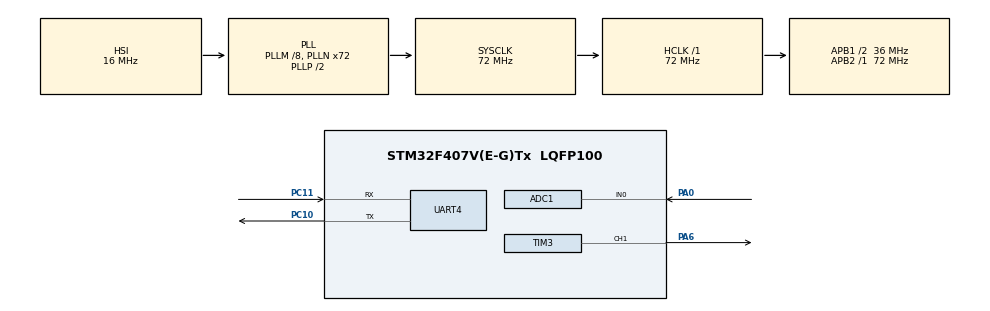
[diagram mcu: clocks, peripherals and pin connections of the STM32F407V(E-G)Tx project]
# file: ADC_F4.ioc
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ADC1.Channel-0\#ChannelRegularConversion=ADC_CHANNEL_0
ADC1.NbrOfConversionFlag=1
ADC1.Rank-0\#ChannelRegularConversion=1
ADC1.SamplingTime-0\#ChannelRegularConversion=ADC_SAMPLETIME_480CYCLES
ADC1.master=1
Mcu.Family=STM32F4
Mcu.Name=STM32F407V(E-G)Tx
Mcu.Package=LQFP100
NVIC.PriorityGroup=NVIC_PRIORITYGROUP_4
NVIC.UART4_IRQn=true\:0\:0\:false\:false\:true\:true\:true
PA0-WKUP.Signal=ADCx_IN0
PA6.Signal=S_TIM3_CH1
PC10.Mode=Asynchronous
PC10.Signal=UART4_TX
PC11.Mode=Asynchronous
PC11.Signal=UART4_RX
PH0-OSC_IN.Mode=HSE-External-Oscillator
PH0-OSC_IN.Signal=RCC_OSC_IN
PH1-OSC_OUT.Mode=HSE-External-Oscillator
PH1-OSC_OUT.Signal=RCC_OSC_OUT
ProjectManager.HeapSize=0x200
ProjectManager.StackSize=0x400
ProjectManager.TargetToolchain=STM32CubeIDE
RCC.48MHZClocksFreq_Value=36000000
RCC.AHBFreq_Value=72000000
RCC.APB1CLKDivider=RCC_HCLK_DIV2
RCC.APB1Freq_Value=36000000
RCC.APB1TimFreq_Value=72000000
RCC.APB2Freq_Value=72000000
RCC.APB2TimFreq_Value=72000000
RCC.CortexFreq_Value=72000000
RCC.HCLKFreq_Value=72000000
RCC.HSE_VALUE=24000000
RCC.HSI_VALUE=16000000
RCC.LSE_VALUE=32768
RCC.PLLM=8
RCC.PLLN=72
RCC.SYSCLKFreq_VALUE=72000000
RCC.SYSCLKSource=RCC_SYSCLKSOURCE_PLLCLK
RCC.VCOOutputFreq_Value=144000000
SH.ADCx_IN0.0=ADC1_IN0,IN0
SH.S_TIM3_CH1.0=TIM3_CH1,PWM Generation1 CH1
TIM3.AutoReloadPreload=TIM_AUTORELOAD_PRELOAD_ENABLE
TIM3.Channel-PWM\ Generation1\ CH1=TIM_CHANNEL_1
TIM3.Period=4095
TIM3.Prescaler=1
UART4.VirtualMode=Asynchronous
board=custom

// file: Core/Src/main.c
/* USER CODE BEGIN Header */
/**
 ******************************************************************************
 * @file           : main.c
 * @brief          : Main program body
 ******************************************************************************
 * @attention
 *
 * <h2><center>&copy; Copyright (c) 2021 STMicroelectronics.
 * All rights reserved.</center></h2>
 *
 * This software component is licensed by ST under BSD 3-Clause license,
 * the "License"; You may not use this file except in compliance with the
 * License. You may obtain a copy of the License at:
 *                        opensource.org/licenses/BSD-3-Clause
 *
 ******************************************************************************
 */
/* USER CODE END Header */
#include "main.h"

ADC_HandleTypeDef hadc1;

TIM_HandleTypeDef htim3;

UART_HandleTypeDef huart4;

/* USER CODE BEGIN PV */
uint16_t raw;
uint8_t raw_8;
uint16_t min = 0xFFFF;
uint16_t max = 0;
uint8_t min_8;
uint8_t max_8;
uint16_t r_min;
uint16_t r_max;
uint8_t aRxBuffer1 = 2;
/* USER CODE END PV */

void SystemClock_Config(void);
static void MX_GPIO_Init(void);
static void MX_ADC1_Init(void);
static void MX_TIM3_Init(void);
static void MX_UART4_Init(void);
/* USER CODE BEGIN PFP */
void transmit_16_t(UART_HandleTypeDef *huart, uint16_t num) {
	static uint8_t msg[2];
	msg[0] = num & 0xFF;
	msg[1] = (num & 0xFF00) >> 8;
	HAL_UART_Transmit(huart, msg, 2, HAL_MAX_DELAY);
}
uint16_t rescale(uint16_t num, uint16_t min, uint16_t max) {
	static const uint16_t target_min = 0;
	static const uint16_t target_max = 0xFFF;
	if (num <= min)
		return target_min;
	else if (num >= max)
		return target_max;
	else
		return (double) (num - min) / (double) (max - min)
				* (double) (target_max - target_min) + target_min;
}
void HAL_UART_RxCpltCallback(UART_HandleTypeDef *huart) {
	HAL_UART_Transmit(huart, &aRxBuffer1, 1, HAL_MAX_DELAY);
	if (aRxBuffer1 == 'm') {
		min = 0xFFFF;
		max = 0;
	}
	else if (aRxBuffer1 == 'r')
	{
		r_min = min;
		r_max = max;
	}
	HAL_UART_Receive_IT(huart, &aRxBuffer1, 1); // save char from uart receive
}
/* USER CODE END PFP */

int main(void) {

	/* MCU Configuration--------------------------------------------------------*/

	/* Reset of all peripherals, Initializes the Flash interface and the Systick. */
	HAL_Init();

	/* Configure the system clock */
	SystemClock_Config();

	/* Initialize all configured peripherals */
	MX_GPIO_Init();
	MX_ADC1_Init();
	MX_TIM3_Init();
	MX_UART4_Init();
	/* USER CODE BEGIN 2 */
	HAL_UART_Receive_IT(&huart4, &aRxBuffer1, 1);
	HAL_TIM_PWM_Start(&htim3, TIM_CHANNEL_1);
	/* USER CODE END 2 */

	/* Infinite loop */
	/* USER CODE BEGIN WHILE */
	while (1) {
		HAL_ADC_Start(&hadc1);
		HAL_ADC_PollForConversion(&hadc1, HAL_MAX_DELAY);
		raw = HAL_ADC_GetValue(&hadc1);
		raw_8 = raw >> 4;
		min = (raw < min) ? raw : min;
		min_8 = min >> 4;
		max = (raw > max) ? raw : max;
		max_8 = max >> 4;

		//	sprintf(msg, "%u\n", raw);
		switch (aRxBuffer1) {
		case 'm':
			HAL_UART_Transmit(&huart4, &min_8, 1, HAL_MAX_DELAY);
			HAL_UART_Transmit(&huart4, &max_8, 1, HAL_MAX_DELAY);
			break;
		case 'c':
			raw = 200;
			raw_8 = raw >> 4;
			HAL_UART_Transmit(&huart4, &raw_8, 1, HAL_MAX_DELAY);
			break;
		case 'r':
			raw = rescale(raw, r_min, r_max);
			HAL_UART_Transmit(&huart4, &raw_8, 1, HAL_MAX_DELAY);
			break;
		default:
			HAL_UART_Transmit(&huart4, &raw_8, 1, HAL_MAX_DELAY);
			break;
		}
		uint16_t pwm = rescale(raw, 400, 3600);
		//	transmit_16_t(&huart4, pwm);
		__HAL_TIM_SetCompare(&htim3, TIM_CHANNEL_1, raw);
		/* USER CODE END WHILE */

	}
}

void SystemClock_Config(void) {
	RCC_OscInitTypeDef RCC_OscInitStruct = { 0 };
	RCC_ClkInitTypeDef RCC_ClkInitStruct = { 0 };

	/** Configure the main internal regulator output voltage
	 */
	__HAL_RCC_PWR_CLK_ENABLE();
	__HAL_PWR_VOLTAGESCALING_CONFIG(PWR_REGULATOR_VOLTAGE_SCALE1);
	/** Initializes the RCC Oscillators according to the specified parameters
	 * in the RCC_OscInitTypeDef structure.
	 */
	RCC_OscInitStruct.OscillatorType = RCC_OSCILLATORTYPE_HSI;
	RCC_OscInitStruct.HSIState = RCC_HSI_ON;
	RCC_OscInitStruct.HSICalibrationValue = RCC_HSICALIBRATION_DEFAULT;
	RCC_OscInitStruct.PLL.PLLState = RCC_PLL_ON;
	RCC_OscInitStruct.PLL.PLLSource = RCC_PLLSOURCE_HSI;
	RCC_OscInitStruct.PLL.PLLM = 8;
	RCC_OscInitStruct.PLL.PLLN = 72;
	RCC_OscInitStruct.PLL.PLLP = RCC_PLLP_DIV2;
	RCC_OscInitStruct.PLL.PLLQ = 4;
	if (HAL_RCC_OscConfig(&RCC_OscInitStruct) != HAL_OK) {
		Error_Handler();
	}
	/** Initializes the CPU, AHB and APB buses clocks
	 */
	RCC_ClkInitStruct.ClockType = RCC_CLOCKTYPE_HCLK | RCC_CLOCKTYPE_SYSCLK
			| RCC_CLOCKTYPE_PCLK1 | RCC_CLOCKTYPE_PCLK2;
	RCC_ClkInitStruct.SYSCLKSource = RCC_SYSCLKSOURCE_PLLCLK;
	RCC_ClkInitStruct.AHBCLKDivider = RCC_SYSCLK_DIV1;
	RCC_ClkInitStruct.APB1CLKDivider = RCC_HCLK_DIV2;
	RCC_ClkInitStruct.APB2CLKDivider = RCC_HCLK_DIV1;

	if (HAL_RCC_ClockConfig(&RCC_ClkInitStruct, FLASH_LATENCY_2) != HAL_OK) {
		Error_Handler();
	}
}

static void MX_ADC1_Init(void) {

	ADC_ChannelConfTypeDef sConfig = { 0 };

	/** Configure the global features of the ADC (Clock, Resolution, Data Alignment and number of conversion)
	 */
	hadc1.Instance = ADC1;
	hadc1.Init.ClockPrescaler = ADC_CLOCK_SYNC_PCLK_DIV2;
	hadc1.Init.Resolution = ADC_RESOLUTION_12B;
	hadc1.Init.ScanConvMode = DISABLE;
	hadc1.Init.ContinuousConvMode = DISABLE;
	hadc1.Init.DiscontinuousConvMode = DISABLE;
	hadc1.Init.ExternalTrigConvEdge = ADC_EXTERNALTRIGCONVEDGE_NONE;
	hadc1.Init.ExternalTrigConv = ADC_SOFTWARE_START;
	hadc1.Init.DataAlign = ADC_DATAALIGN_RIGHT;
	hadc1.Init.NbrOfConversion = 1;
	hadc1.Init.DMAContinuousRequests = DISABLE;
	hadc1.Init.EOCSelection = ADC_EOC_SINGLE_CONV;
	if (HAL_ADC_Init(&hadc1) != HAL_OK) {
		Error_Handler();
	}
	/** Configure for the selected ADC regular channel its corresponding rank in the sequencer and its sample time.
	 */
	sConfig.Channel = ADC_CHANNEL_0;
	sConfig.Rank = 1;
	sConfig.SamplingTime = ADC_SAMPLETIME_480CYCLES;
	if (HAL_ADC_ConfigChannel(&hadc1, &sConfig) != HAL_OK) {
		Error_Handler();
	}

}

static void MX_TIM3_Init(void) {

	TIM_MasterConfigTypeDef sMasterConfig = { 0 };
	TIM_OC_InitTypeDef sConfigOC = { 0 };

	htim3.Instance = TIM3;
	htim3.Init.Prescaler = 1;
	htim3.Init.CounterMode = TIM_COUNTERMODE_UP;
	htim3.Init.Period = 4095;
	htim3.Init.ClockDivision = TIM_CLOCKDIVISION_DIV1;
	htim3.Init.AutoReloadPreload = TIM_AUTORELOAD_PRELOAD_ENABLE;
	if (HAL_TIM_PWM_Init(&htim3) != HAL_OK) {
		Error_Handler();
	}
	sMasterConfig.MasterOutputTrigger = TIM_TRGO_RESET;
	sMasterConfig.MasterSlaveMode = TIM_MASTERSLAVEMODE_DISABLE;
	if (HAL_TIMEx_MasterConfigSynchronization(&htim3, &sMasterConfig)
			!= HAL_OK) {
		Error_Handler();
	}
	sConfigOC.OCMode = TIM_OCMODE_PWM1;
	sConfigOC.Pulse = 0;
	sConfigOC.OCPolarity = TIM_OCPOLARITY_HIGH;
	sConfigOC.OCFastMode = TIM_OCFAST_DISABLE;
	if (HAL_TIM_PWM_ConfigChannel(&htim3, &sConfigOC, TIM_CHANNEL_1)
			!= HAL_OK) {
		Error_Handler();
	}
	HAL_TIM_MspPostInit(&htim3);

}

static void MX_UART4_Init(void) {

	huart4.Instance = UART4;
	huart4.Init.BaudRate = 115200;
	huart4.Init.WordLength = UART_WORDLENGTH_8B;
	huart4.Init.StopBits = UART_STOPBITS_1;
	huart4.Init.Parity = UART_PARITY_NONE;
	huart4.Init.Mode = UART_MODE_TX_RX;
	huart4.Init.HwFlowCtl = UART_HWCONTROL_NONE;
	huart4.Init.OverSampling = UART_OVERSAMPLING_16;
	if (HAL_UART_Init(&huart4) != HAL_OK) {
		Error_Handler();
	}

}

static void MX_GPIO_Init(void) {

	/* GPIO Ports Clock Enable */
	__HAL_RCC_GPIOH_CLK_ENABLE();
	__HAL_RCC_GPIOA_CLK_ENABLE();
	__HAL_RCC_GPIOC_CLK_ENABLE();

}

void Error_Handler(void) {
	__disable_irq();
	while (1) {
	}
}

/************************ (C) COPYRIGHT STMicroelectronics *****END OF FILE****/
